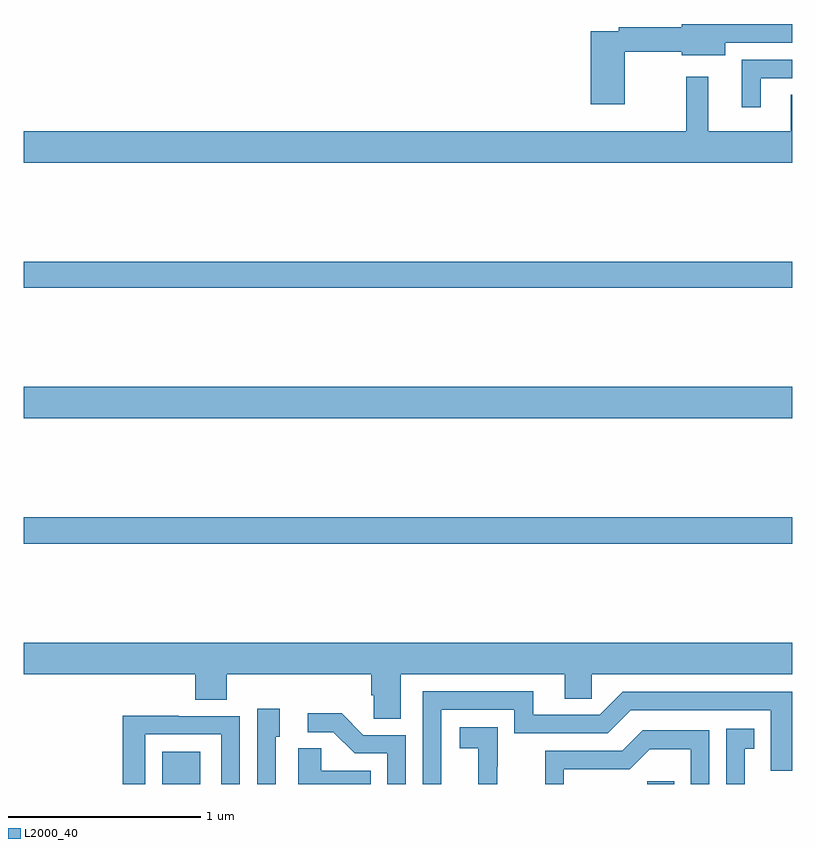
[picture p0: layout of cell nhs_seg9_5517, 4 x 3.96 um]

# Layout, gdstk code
import gdstk
lib = gdstk.Library(unit=1e-6, precision=1e-09)
def R(c, l, rs):  # rectangles x0, y0, x1, y1
    for r in rs: c.add(gdstk.rectangle(r[:2], r[2:], *l))
def P(c, l, *ps):  # polygons
    for p in ps: c.add(gdstk.Polygon(p, *l))
L2000_40 = (2000, 40)

nhs_seg9_5517 = lib.new_cell('nhs_seg9_5517')
R(nhs_seg9_5517, L2000_40, [(431.72,1210.5,431.917,1210.669), (434.247,1210.5,434.387,1210.515), (431,1211.752,435,1211.888), (431,1212.404,435,1212.568), (431,1213.084,435,1213.22)])
P(nhs_seg9_5517, L2000_40, [(434.13,1214.313),(434.426,1214.313),(434.426,1214.294),(434.653,1214.294),(434.653,1214.361),(435,1214.361),(435,1214.457),(434.649,1214.457),(434.649,1214.458),(434.426,1214.458),(434.426,1214.441),(434.098,1214.441),(434.098,1214.421),(433.952,1214.421),(433.952,1214.04),(434.13,1214.04)],
  [(434.836,1214.175),(435,1214.175),(435,1214.271),(434.738,1214.271),(434.738,1214.025),(434.836,1214.025)],
  [(435,1214.09),(434.993,1214.09),(434.993,1213.9),(434.563,1213.9),(434.563,1214.182),(434.449,1214.182),(434.449,1213.9),(431,1213.9),(431,1213.736),(435,1213.736)],
  [(432.961,1211.072),(433.817,1211.072),(433.817,1210.945),(433.956,1210.945),(433.956,1211.072),(435,1211.072),(435,1211.236),(431,1211.236),(431,1211.072),(431.891,1211.072),(431.891,1210.939),(432.056,1210.939),(432.056,1211.072),(432.809,1211.072),(432.809,1210.963),(432.822,1210.963),(432.822,1210.84),(432.961,1210.84)],
  [(433.173,1210.887),(433.554,1210.887),(433.554,1210.764),(434.04,1210.764),(434.16,1210.884),(434.889,1210.884),(434.889,1210.569),(435,1210.569),(435,1210.98),(434.118,1210.98),(433.998,1210.86),(433.651,1210.86),(433.651,1210.983),(433.077,1210.983),(433.077,1210.5),(433.173,1210.5)],
  [(432.312,1210.746),(432.331,1210.746),(432.331,1210.891),(432.216,1210.891),(432.216,1210.5),(432.312,1210.5)],
  [(432.987,1210.755),(432.768,1210.755),(432.655,1210.868),(432.477,1210.868),(432.477,1210.77),(432.611,1210.77),(432.722,1210.659),(432.891,1210.659),(432.891,1210.5),(432.987,1210.5)],
  [(431.631,1210.758),(432.027,1210.758),(432.027,1210.5),(432.123,1210.5),(432.123,1210.854),(431.807,1210.854),(431.807,1210.856),(431.515,1210.856),(431.515,1210.5),(431.631,1210.5)],
  [(433.466,1210.589),(433.467,1210.589),(433.467,1210.795),(433.269,1210.795),(433.269,1210.685),(433.367,1210.685),(433.367,1210.5),(433.466,1210.5)],
  [(434.755,1210.683),(434.804,1210.683),(434.804,1210.789),(434.658,1210.789),(434.658,1210.5),(434.755,1210.5)],
  [(433.812,1210.578),(434.154,1210.578),(434.258,1210.682),(434.472,1210.682),(434.472,1210.5),(434.568,1210.5),(434.568,1210.779),(434.222,1210.779),(434.117,1210.674),(433.714,1210.674),(433.714,1210.5),(433.812,1210.5)],
  [(432.806,1210.57),(432.549,1210.57),(432.549,1210.685),(432.428,1210.685),(432.428,1210.5),(432.806,1210.5)])

lib.write_gds('nhs_seg9_5517.gds')
